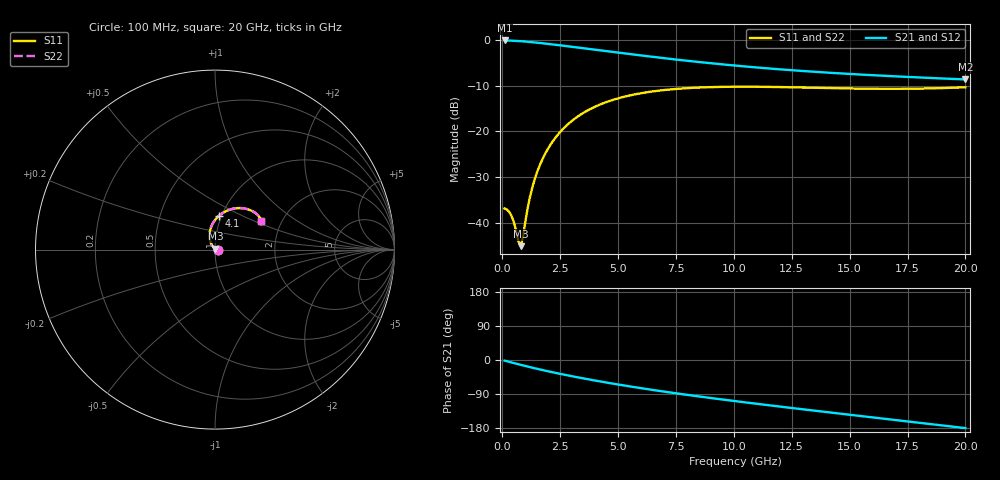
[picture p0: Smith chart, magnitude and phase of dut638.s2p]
! Touchstone file exported from HFSS 2024.1.0
!  File:  C:/UserFiles/LocalFiles/RDL_TSV_Batchsim/temp_RDL_TSV_638_1779806139.aedt
!  Generated:  10:49:28 PM May 26, 2026
!  Design:  RDL_TSV
!  Project:  temp_RDL_TSV_638_1779806139
!  Setup:  Setup1
!  Solution:  Sweep
! Variables:
!  dtsv = 11.53um
!  hbump = 3um
!  htsv = 79.56um
!  ldown = 459.09um
!  lrdl = 232.46um
!  p = 40
!  p1 = 46.31um
!  rhole = 10um
!  subl = 2307.11um
!  t = 450um
!  tdown = 3.98um
!  trdl = 4.67um
!  viad = 10um
!  wdown = 15.6um
!  wrdl = 11.44um
!  xbump = 18um
# GHz S MA R 50.000000
! Terminal data exported
! Port[1] = TM1_1_T1
! Port[2] = TM1_4_T1
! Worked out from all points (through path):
!   200 points, 100 MHz to 20 GHz, reference 50 ohm
!   highest |S21| = -0.13 dB at 100 MHz (marker M1); lowest = -8.7 dB at 20 GHz (marker M2)
!   group delay of S21, straight-line fit = 23.4 ps
!   lowest |S11| = -45.2 dB at 800 MHz (marker M3), VSWR 1.01, Z = 50.2 + j0.504 ohm
!   |S11| at or under -10 dB: start of sweep to end of sweep
!   |S22| runs from -45.2 to -10.3 dB; largest |S21 - S12| = 9.4e-15
!   S11 on the Smith chart (normalised r, x): 100 MHz: 1.03, +0.00; 4.1 GHz: 0.97, +0.38; 20 GHz: 1.57, +0.56
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0.1  0.01427 1.4  0.9852 -1.7  0.9852 -1.7  0.01427 1.4
! Gamma 0 0 0 0
! Port Impedance 50 0 50 0
0.3  0.01308 3.6  0.9822 -4.9  0.9822 -4.9  0.01308 3.6
0.4  0.0118 5.3  0.98 -6.6  0.98 -6.6  0.0118 5.2
0.5  0.01009 8.8  0.9773 -8.2  0.9773 -8.2  0.01009 8.8
0.7  0.006201 33.7  0.9707 -11.3  0.9707 -11.3  0.006202 33.7
0.8  0.005515 65.6  0.9668 -12.9  0.9668 -12.9  0.005514 65.5
0.9  0.007116 96.5  0.9626 -14.4  0.9626 -14.4  0.007112 96.4
1.1  0.0146 120.0  0.9533 -17.4  0.9533 -17.4  0.01459 119.9
1.2  0.01931 123.1  0.9482 -18.9  0.9482 -18.9  0.0193 123.1
1.4  0.02979 124.2  0.9375 -21.8  0.9375 -21.8  0.02978 124.2
1.7  0.04728 121.2  0.9201 -26.1  0.9201 -26.1  0.04726 121.2
2.1  0.07239 114.7  0.8958 -31.5  0.8958 -31.5  0.07235 114.7
2.5  0.09809 107.8  0.871 -36.6  0.871 -36.6  0.09805 107.8
3.5  0.1587 91.6  0.8099 -48.6  0.8099 -48.6  0.1586 91.6
4.1  0.1901 83.2  0.7749 -55.2  0.7749 -55.2  0.1901 83.2
5.3  0.2396 69.1  0.7097 -67.7  0.7097 -67.7  0.2396 69.1
6.8  0.2789 55.6  0.6383 -81.8  0.6383 -81.8  0.2789 55.6
8.4  0.2999 45.1  0.5752 -95.5  0.5752 -95.5  0.3 45.1
10.1  0.3069 37.3  0.5218 -108.9  0.5218 -108.9  0.307 37.2
13.4  0.2993 29.6  0.4487 -133.1  0.4487 -133.1  0.2996 29.5
16.7  0.2911 29.3  0.4018 -156.5  0.4018 -156.5  0.2914 29.2
20  0.3026 32.2  0.3688 -179.7  0.3688 -179.7  0.3027 32.0
